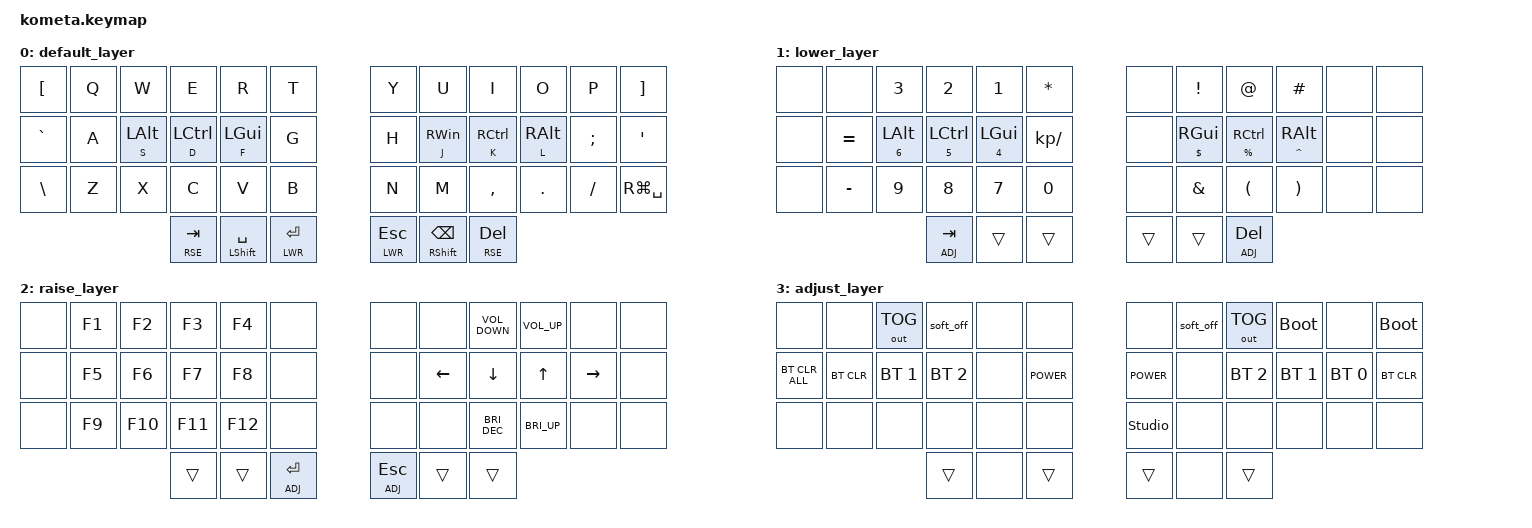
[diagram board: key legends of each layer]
#include <behaviors.dtsi>
#include <dt-bindings/zmk/bt.h>
#include <dt-bindings/zmk/keys.h>
#include <dt-bindings/zmk/outputs.h>

#define DEF 0
#define LWR 1
#define RSE 2
#define ADJ 3

/ {
};

/ {
    behaviors {
        hr: hr {
            compatible = "zmk,behavior-hold-tap";
            label = "home_row";
            bindings = <&kp>, <&kp>;

            #binding-cells = <2>;
            tapping-term-ms = <150>;
            quick-tap-ms = <250>;
            flavor = "tap-preferred";
        };

        copy: copy {
            compatible = "zmk,behavior-tap-dance";
            label = "COPY";
            #binding-cells = <0>;
            bindings = <&kp C>, <&kp K_COPY>;
        };

        paste: paste {
            compatible = "zmk,behavior-tap-dance";
            label = "PASTE";
            #binding-cells = <0>;
            bindings = <&kp V>, <&kp INSERT>;
        };
    };

    keymap {
        compatible = "zmk,keymap";

        default_layer {
            // ------------------------------------------------------------------------------------------------
            //| LGUI/] |  Q  |  W  |  E  |  R  |  T  |   |  Y  |  U   |  I  |  O  |  P  | RGUI/[ | 
            //| CTRL/` |  A  |  S  |  D  |  F  |  G  |   |  H  |  J   |  K  |  L  |  ;  | CTRL/' |
            //| LALT/\ |  Z  |  X  |  C  |  V  |  B  |   |  N  |  M   |  ,  |  .  |  /  | RALT/- |
            //                             | RSE | SPC | LWR |   | LWR | BKSP | RSE |

            bindings = <
&kp LEFT_BRACKET  &kp Q  &kp W           &kp E        &kp R            &kp T        &kp Y        &kp U            &kp I        &kp O            &kp P     &kp RIGHT_BRACKET
&kp GRAVE         &kp A  &hr S LEFT_ALT  &hr D LCTRL  &hr F LEFT_GUI   &kp G        &kp H        &hr J RIGHT_WIN  &hr K RCTRL  &hr L RIGHT_ALT  &kp SEMI  &kp SQT
&kp BSLH          &kp Z  &kp X           &kp C        &kp V            &kp B        &kp N        &kp M            &kp COMMA    &kp DOT          &kp FSLH  &kp RG(SPACE)
                                         &lt RSE TAB  &mt LSHFT SPACE  &lt LWR RET  &lt LWR ESC  &mt RSHFT BSPC   &lt RSE DEL
            >;
        };

        lower_layer {
            // -----------------------------------------------------------------------------------------
            //|LGUI/CAPS |  *  |  7 |  8  |  9  |  +  |    |  !  |  @  |  #  |  $  |  %  | RGUI/F1 |
            //|CTRL/MENU |  /  |  4 |  5  |  6  |  -  |    |  ^  |  &  |  *  |  (  |  )  | CTRL/F2 |
            //|  LALT/=  |  0  |  1 |  4  |  3  |  .  |    |  ls |  F4 |  F5 |  F6 |  F7 | RALT/F3 |
            //                      | ADJ | ___ | ___ |    | ___ | ___ | ADJ |

            bindings = <
&none  &none      &kp NUMBER_3           &kp NUMBER_2         &kp N1                 &kp ASTERISK   &none   &kp EXCLAMATION       &kp AT_SIGN           &kp HASH               &none  &none
&none  &kp EQUAL  &hr NUMBER_6 LEFT_ALT  &hr N5 LEFT_CONTROL  &hr NUMBER_4 LEFT_GUI  &kp KP_DIVIDE  &none   &hr DOLLAR RIGHT_GUI  &hr PERCENT RCTRL     &hr CARET RIGHT_ALT    &none  &none
&none  &kp MINUS  &kp N9                 &kp N8               &kp N7                 &kp N0         &none   &kp AMPERSAND         &kp LEFT_PARENTHESIS  &kp RIGHT_PARENTHESIS  &none  &none
                                         &lt ADJ TAB          &trans                 &trans         &trans  &trans                &lt ADJ DEL
            >;
        };

        raise_layer {
            // -----------------------------------------------------------------------------------------
            //| LGUI |  VOLU  |  PGUP  | PLAY | HOME | ___  |            | ___  | HOME | PLAY| PGUP | VOLU | RGUI |
            //| CTRL |  VOLD  |  LEFT  |  UP  | DOWN | RGHT |            | RGHT | DOWN | UP  | LEFT | VOLD | CTRL | 
            //| LALT |  MUTE  |  PGDN  |  ___ | END  | ___  |            | ___  | END  | ___ | PGDN | MUTE | RALT |
            //                          | ___ | ___  | ADJ  |            | ADJ  | ___  | ___ |

            bindings = <
&none  &kp F1  &kp F2   &kp F3   &kp F4   &none        &none        &none     &kp C_VOLUME_DOWN     &kp C_VOLUME_UP  &none            &none
&none  &kp F5  &kp F6   &kp F7   &kp F8   &none        &none        &kp LEFT  &kp DOWN              &kp UP           &kp RIGHT_ARROW  &none
&none  &kp F9  &kp F10  &kp F11  &kp F12  &none        &none        &none     &kp C_BRIGHTNESS_DEC  &kp C_BRI_UP     &none            &none
                        &trans   &trans   &lt ADJ RET  &lt ADJ ESC  &trans    &trans
            >;
        };

        adjust_layer {
            // -----------------------------------------------------------------------------------------
            //| BLDR |     |     |     |     |     |   |     |     |     |     |     | BLDR |
            //| BTCLR| BT0 | BT1 | BT2 | BT3 | BT4 |   | BT4 | BT3 | BT2 | BT1 | BT0 | BTCLR|
            //|pwrOFF|NUMLK|     |     |     |     |   |     |     |     |     |     |      |
            //                   |     |     |     |   |     |     |     |

            bindings = <
&none           &none       &out OUT_TOG  &soft_off     &none  &none        &none           &soft_off  &out OUT_TOG  &bootloader   &none         &bootloader
&bt BT_CLR_ALL  &bt BT_CLR  &bt BT_SEL 1  &bt BT_SEL 2  &none  &kp K_POWER  &kp K_POWER     &none      &bt BT_SEL 2  &bt BT_SEL 1  &bt BT_SEL 0  &bt BT_CLR
&none           &none       &none         &none         &none  &none        &studio_unlock  &none      &none         &none         &none         &none
                                          &trans        &none  &trans       &trans          &none      &trans
            >;
        };
    };
};
